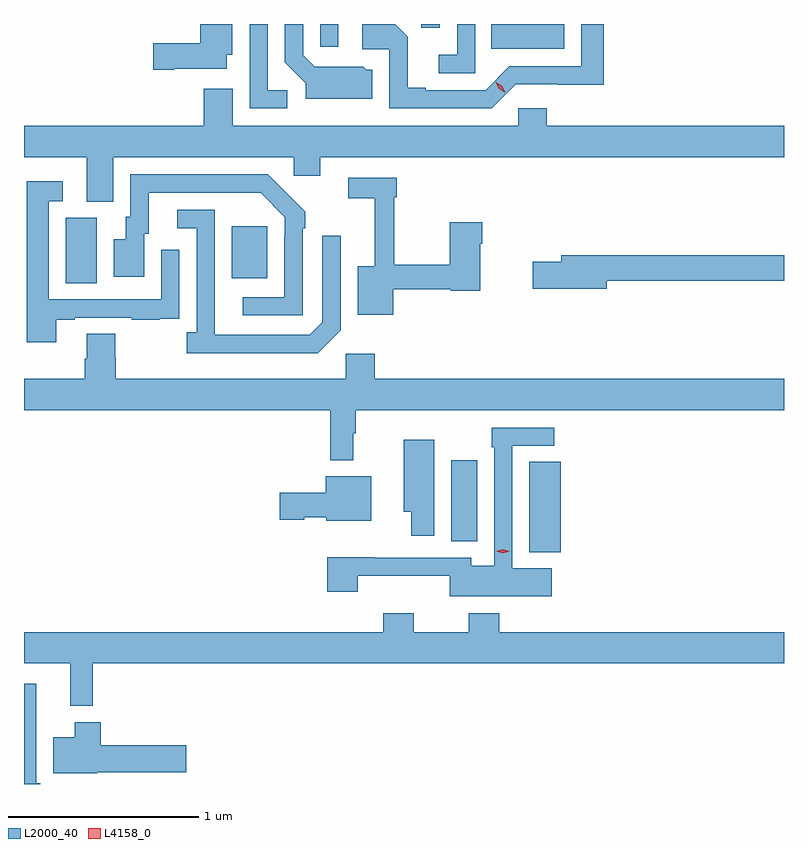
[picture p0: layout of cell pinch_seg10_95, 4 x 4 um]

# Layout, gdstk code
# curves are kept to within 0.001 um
import gdstk
lib = gdstk.Library(unit=1e-6, precision=1e-09)
def R(c, l, rs):  # rectangles x0, y0, x1, y1
    for r in rs: c.add(gdstk.rectangle(r[:2], r[2:], *l))
def P(c, l, *ps):  # polygons
    for p in ps: c.add(gdstk.Polygon(p, *l))
L2000_40 = (2000, 40)
L4158_0 = (4158, 0)

pinch_seg10_95 = lib.new_cell('pinch_seg10_95')
R(pinch_seg10_95, L2000_40, [(720.761,1291.577,720.928,1292.051), (720.35,1291.633,720.487,1292.059), (718.322,1292.992,718.486,1293.336), (719.195,1293.017,719.383,1293.292), (720.562,1294.226,720.946,1294.356), (719.661,1294.236,719.757,1294.356), (720.193,1294.336,720.291,1294.356)])
P(pinch_seg10_95, L2000_40, [(718.894,1294.121),(719.17,1294.121),(719.17,1294.194),(719.197,1294.194),(719.197,1294.356),(719.03,1294.356),(719.03,1294.256),(718.782,1294.256),(718.782,1294.114),(718.894,1294.114)],
  [(720.69,1294.038),(721.153,1294.037),(721.153,1294.356),(721.034,1294.356),(721.034,1294.134),(720.657,1294.134),(720.531,1294.008),(720.217,1294.008),(720.217,1294.021),(720.123,1294.021),(720.123,1294.288),(720.055,1294.356),(719.883,1294.356),(719.883,1294.224),(720.024,1294.224),(720.024,1293.912),(720.564,1293.912)],
  [(720.477,1294.356),(720.381,1294.356),(720.381,1294.195),(720.285,1294.195),(720.285,1294.098),(720.477,1294.098)],
  [(719.935,1294.116),(719.904,1294.116),(719.888,1294.132),(719.631,1294.131),(719.571,1294.191),(719.571,1294.356),(719.475,1294.356),(719.475,1294.154),(719.585,1294.044),(719.585,1293.962),(719.935,1293.962)],
  [(719.488,1294.008),(719.385,1294.008),(719.385,1294.356),(719.289,1294.356),(719.289,1293.912),(719.488,1293.912)],
  [(718.573,1293.656),(719.523,1293.656),(719.523,1293.558),(719.662,1293.558),(719.662,1293.656),(722.102,1293.656),(722.102,1293.82),(720.854,1293.82),(720.854,1293.913),(720.702,1293.913),(720.702,1293.82),(719.2,1293.82),(719.2,1294.015),(719.048,1294.015),(719.048,1293.82),(718.102,1293.82),(718.102,1293.656),(718.433,1293.656),(718.433,1293.421),(718.573,1293.421)],
  [(719.568,1293.281),(719.583,1293.281),(719.583,1293.369),(719.386,1293.564),(718.662,1293.564),(718.662,1293.342),(718.637,1293.342),(718.637,1293.223),(718.574,1293.223),(718.574,1293.027),(718.735,1293.027),(718.735,1293.252),(718.759,1293.252),(718.759,1293.468),(719.347,1293.468),(719.475,1293.339),(719.475,1293.239),(719.472,1293.239),(719.472,1292.919),(719.253,1292.919),(719.253,1292.823),(719.568,1292.823)],
  [(720.046,1292.961),(720.348,1292.961),(720.348,1292.953),(720.502,1292.953),(720.502,1293.2),(720.515,1293.2),(720.515,1293.313),(720.344,1293.313),(720.344,1293.089),(720.05,1293.089),(720.05,1293.443),(720.065,1293.443),(720.065,1293.546),(719.808,1293.546),(719.808,1293.438),(719.948,1293.438),(719.948,1293.082),(719.858,1293.082),(719.858,1292.825),(720.046,1292.825)],
  [(718.273,1292.799),(718.369,1292.799),(718.369,1292.811),(718.669,1292.811),(718.669,1292.799),(718.817,1292.799),(718.817,1292.805),(718.919,1292.805),(718.919,1292.914),(718.92,1292.914),(718.92,1293.169),(718.824,1293.169),(718.824,1292.907),(718.233,1292.907),(718.233,1293.423),(718.306,1293.423),(718.306,1293.529),(718.117,1293.529),(718.117,1292.682),(718.273,1292.682)],
  [(719.769,1292.745),(719.769,1293.241),(719.673,1293.241),(719.673,1292.787),(719.607,1292.721),(719.107,1292.721),(719.106,1293.378),(718.908,1293.378),(718.908,1293.282),(719.01,1293.282),(719.01,1292.734),(718.959,1292.734),(718.959,1292.624),(719.648,1292.624)],
  [(721.168,1293.004),(722.102,1293.004),(722.102,1293.14),(720.929,1293.14),(720.929,1293.104),(720.78,1293.104),(720.78,1292.962),(721.168,1292.962)],
  [(719.834,1292.201),(719.849,1292.201),(719.849,1292.324),(722.102,1292.324),(722.102,1292.488),(719.948,1292.488),(719.948,1292.62),(719.796,1292.62),(719.796,1292.488),(718.586,1292.488),(718.586,1292.601),(718.581,1292.601),(718.581,1292.726),(718.433,1292.726),(718.433,1292.594),(718.421,1292.594),(718.421,1292.488),(718.102,1292.488),(718.102,1292.324),(719.713,1292.324),(719.713,1292.061),(719.834,1292.061)],
  [(720.88,1291.492),(720.672,1291.492),(720.672,1292.136),(720.892,1292.136),(720.892,1292.232),(720.564,1292.232),(720.564,1292.129),(720.576,1292.129),(720.576,1291.504),(720.457,1291.504),(720.457,1291.548),(719.947,1291.548),(719.947,1291.55),(719.699,1291.55),(719.699,1291.368),(719.859,1291.368),(719.859,1291.451),(720.344,1291.451),(720.344,1291.343),(720.88,1291.343)],
  [(720.262,1292.167),(720.101,1292.167),(720.101,1291.79),(720.14,1291.79),(720.14,1291.662),(720.262,1291.662)],
  [(719.929,1291.975),(719.69,1291.975),(719.69,1291.89),(719.448,1291.89),(719.448,1291.748),(719.577,1291.748),(719.577,1291.76),(719.694,1291.76),(719.694,1291.742),(719.929,1291.742)],
  [(718.463,1290.992),(722.102,1290.992),(722.102,1291.156),(720.602,1291.156),(720.602,1291.255),(720.442,1291.255),(720.442,1291.156),(720.153,1291.156),(720.153,1291.255),(719.993,1291.255),(719.993,1291.156),(718.102,1291.156),(718.102,1290.992),(718.346,1290.992),(718.346,1290.767),(718.463,1290.767)],
  [(718.187,1290.361),(718.167,1290.361),(718.167,1290.883),(718.102,1290.883),(718.102,1290.356),(718.187,1290.356)],
  [(718.488,1290.419),(718.957,1290.419),(718.957,1290.561),(718.505,1290.561),(718.505,1290.682),(718.37,1290.682),(718.37,1290.601),(718.256,1290.601),(718.256,1290.413),(718.488,1290.413)])
P(pinch_seg10_95, L4158_0, [(720.623,1291.571),(720.588,1291.581),(720.588,1291.581),(720.588,1291.581),(720.623,1291.591),(720.658,1291.581),(720.658,1291.581),(720.658,1291.581)],
  [(720.633,1293.996),(720.602,1294.016),(720.586,1294.049),(720.586,1294.049),(720.586,1294.049),(720.617,1294.03),(720.634,1293.997),(720.634,1293.996)])

lib.write_gds('pinch_seg10_95.gds')
